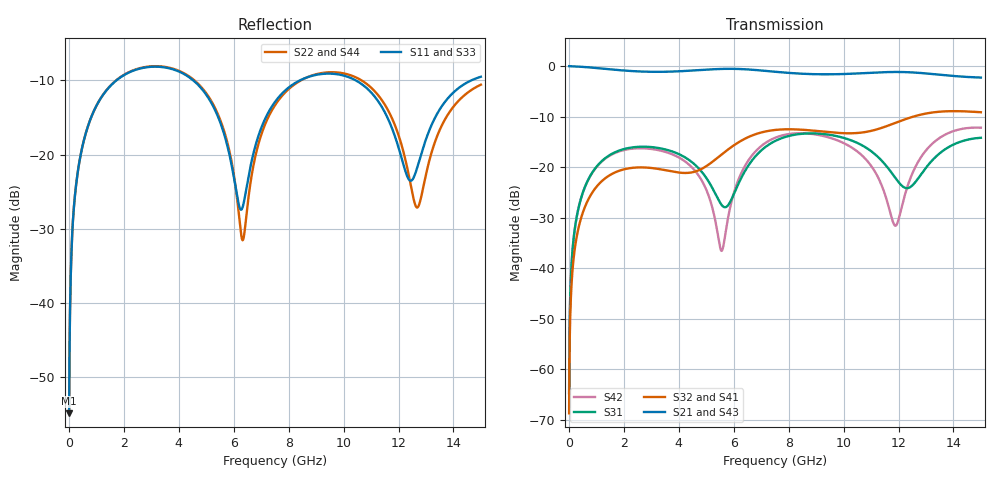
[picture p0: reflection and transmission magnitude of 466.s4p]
! Created with skrf 1.8.0 (http://scikit-rf.org).
# GHz S RI R 50.0
!freq ReS11 ImS11 ReS12 ImS12 ReS13 ImS13
! ReS14 ImS14
! ReS21 ImS21 ReS22 ImS22 ReS23 ImS23
! ReS24 ImS24
! ReS31 ImS31 ReS32 ImS32 ReS33 ImS33
! ReS34 ImS34
! ReS41 ImS41 ReS42 ImS42 ReS43 ImS43
! ReS44 ImS44
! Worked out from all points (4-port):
!   2499 points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, 5 MHz to 15 GHz, reference 50 ohm
!   strongest paths, dB at 5 MHz, 3.476 GHz, 7.19 GHz, 11.1 GHz, 15 GHz:
!     S21: 0.0, -1.1, -1.0, -1.3, -2.3
!     S43: 0.0, -1.1, -1.0, -1.3, -2.3
!     S32: -68.8, -20.6, -12.9, -12.7, -9.1
!     S41: -68.8, -20.6, -12.9, -12.7, -9.2
!     S31: -64.8, -16.5, -15.9, -17.3, -14.2
!     S42: -64.8, -16.9, -15.1, -20.5, -12.2
!   lowest |S11| = -54.9 dB at 5 MHz (marker M1), VSWR 1.00, Z = 50.1 + j0.109 ohm
!   |S11| at or under -10 dB: start of sweep to 1.721 GHz; 4.531 GHz to 8.402 GHz (3.871 GHz wide, 59.9 % of centre); 10.45 GHz to 14.64 GHz (4.191 GHz wide, 33.4 % of centre)
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0.005  0.00143 0.00108  0.9985 -0.00278  7.14e-05 0.000573  -6.93e-05 -0.000358
       0.9985 -0.00278  0.00143 0.00108  -6.93e-05 -0.000358  7.12e-05 0.000573
       7.14e-05 0.000573  -6.93e-05 -0.000358  0.00143 0.00108  0.9985 -0.00278
       -6.93e-05 -0.000358  7.12e-05 0.000573  0.9985 -0.00278  0.00143 0.00108
0.3126303  0.019 0.0721  0.9741 -0.1738  0.00889 0.0344  -0.00718 -0.0214
           0.9741 -0.1738  0.0191 0.0721  -0.00719 -0.0214  0.00837 0.0346
           0.00889 0.0344  -0.00719 -0.0214  0.019 0.0721  0.9741 -0.1738
           -0.00718 -0.0214  0.00837 0.0346  0.9741 -0.1738  0.0191 0.0721
1.569404  0.2303 0.19  0.6286 -0.6789  0.1177 0.0673  -0.0835 -0.019
          0.6286 -0.6789  0.2325 0.1888  -0.0836 -0.0189  0.11 0.0757
          0.1177 0.0673  -0.0836 -0.0189  0.2303 0.1901  0.6285 -0.6789
          -0.0835 -0.019  0.11 0.0757  0.6285 -0.6789  0.2326 0.1888
6.26511  0.0423 -0.00271  -0.9319 -0.072  -0.0237 0.0735  -0.0113 0.1816
         -0.9319 -0.072  0.0257 -0.014  -0.0089 0.1818  0.0254 0.0824
         -0.0237 0.0735  -0.0089 0.1818  0.0428 -0.00509  -0.9318 -0.0723
         -0.0113 0.1816  0.0254 0.0824  -0.9318 -0.0723  0.0257 -0.0161
10.25427  0.3141 -0.0985  0.1832 0.8196  0.1235 -0.1376  0.1873 -0.1044
          0.1832 0.8196  0.3253 -0.1094  0.186 -0.11  0.1399 -0.075
          0.1235 -0.1376  0.186 -0.11  0.3134 -0.0979  0.1849 0.819
          0.1873 -0.1044  0.1399 -0.075  0.1849 0.819  0.3261 -0.1114
12.67403  0.0722 0.0365  0.8536 0.1057  -0.0382 0.064  0.0333 -0.3216
          0.8536 0.1057  0.0437 -0.00461  0.0243 -0.3227  0.0604 0.0892
          -0.0382 0.064  0.0243 -0.3227  0.0724 0.0325  0.8538 0.1032
          0.0333 -0.3216  0.0604 0.0892  0.8538 0.1032  0.0451 -0.00704
15  0.3266 0.0751  0.4333 -0.6368  0.1951 -0.000908  -0.3216 -0.1276
    0.4333 -0.6368  0.2795 0.0983  -0.3288 -0.1181  0.243 -0.0341
    0.1951 -0.000908  -0.3288 -0.1181  0.3194 0.0742  0.4297 -0.6406
    -0.3216 -0.1276  0.243 -0.0341  0.4297 -0.6406  0.2824 0.0909
